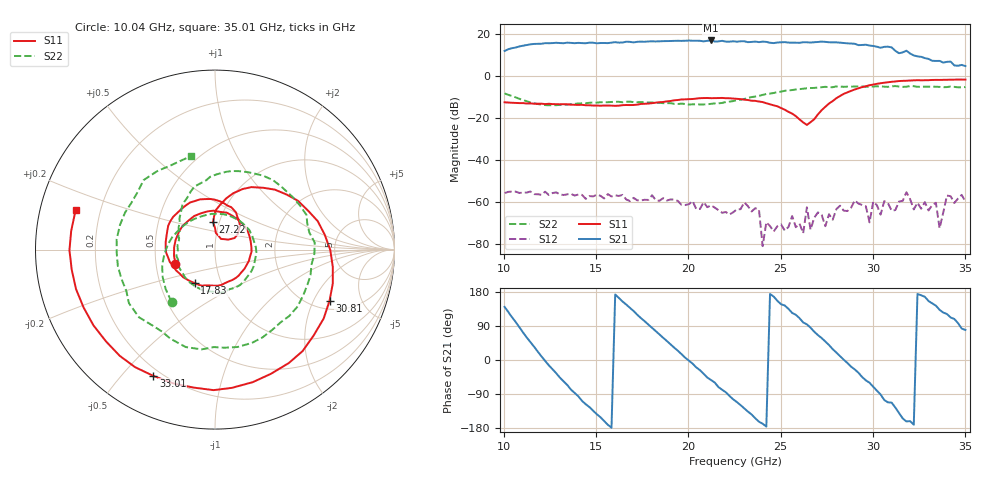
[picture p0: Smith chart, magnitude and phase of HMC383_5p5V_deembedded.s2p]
!Hittite Microwave Corporation
!20 Alpha Road
!Chelmsford, MA 01824
!Tel: 978-250-3343
!Fax: 978-250-3373
!Device: HMC383, 12-30 GHz, Driver Amplifier Die
!Misc: Vcc = 5.5V, data includes two K connectors, Room
# MHZ S MA R 50
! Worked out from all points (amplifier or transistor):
!   126 points, 10.04 GHz to 35.01 GHz, reference 50 ohm
!   highest |S21| = 16.7 dB at 21.22 GHz (marker M1)
!   |S21| within 3 dB of that: 10.77 GHz to 30.23 GHz (19.46 GHz wide, 94.9 % of centre)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
!   unconditionally stable (mu >= 1): start of sweep to end of sweep
!   at 14.23 GHz: K = 51.51, MAG = 15.9 dB, |S12| = -56.5 dB
!   at 22.62 GHz: K = 98.47, MAG = 16.8 dB, |S12| = -63.4 dB
!   at 35.01 GHz: K = 71.20, MAG = 10.6 dB, |S12| = -59.7 dB
!   S11 on the Smith chart (normalised r, x): 10.04 GHz: 0.63, -0.11; 17.83 GHz: 0.75, -0.29; 27.22 GHz: 0.94, +0.29; 30.81 GHz: 2.41, -2.69; 33.01 GHz: 0.17, -0.61; 35.01 GHz: 0.11, +0.14
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10037.5  0.234 -160.2  3.865 140.2  0.00165 -18.5  0.379 -129.7
11036.25  0.224 144.4  5.151 72.7  0.001691 -26.9  0.264 173.7
12234.75  0.212 81.7  5.917 -2.4  0.001775 -47.0  0.201 114.7
13433.25  0.209 28.6  6.084 -65.9  0.00154 -67.1  0.207 58.0
14232.25  0.204 -3.3  5.932 -107.9  0.001493 -75.7  0.221 20.9
16030  0.193 -66.6  6.233 172.9  0.001456 -97.2  0.242 -54.8
17827.75  0.218 -121.0  6.5 93.4  0.001131 -120.4  0.232 -118.6
18427  0.235 -139.1  6.544 67.5  0.001077 -118.1  0.228 -137.1
19825.25  0.275 178.1  6.745 6.0  0.0008596 -144.8  0.213 -175.5
21223.5  0.293 135.4  6.852 -52.9  0.0008431 -146.0  0.215 161.9
22621.75  0.283 95.1  6.408 -111.0  0.0006792 -142.3  0.262 139.0
24219.75  0.222 56.1  6.339 -175.7  0.0003338 -172.0  0.369 108.1
25618  0.126 30.6  6.076 124.2  0.0004711 -36.9  0.457 73.1
26816.5  0.093 87.2  6.224 74.5  0.000429 -97.2  0.513 39.6
27216  0.152 94.0  6.439 58.0  0.000505 -41.9  0.533 27.6
28814  0.437 52.0  5.793 -17.6  0.0007411 -93.6  0.551 -20.8
29613  0.563 22.5  5.433 -53.7  0.0008002 -105.7  0.546 -47.5
30811.5  0.699 -24.1  4.879 -111.8  0.0009469 -113.9  0.543 -90.6
31011.25  0.717 -32.4  4.691 -112.4  0.0006254 -119.4  0.561 -97.7
31810.25  0.759 -65.8  3.922 -162.2  0.001718 -157.4  0.547 -128.8
33008.75  0.783 -116.0  2.499 155.6  0.0006362 85.6  0.548 -178.1
35006.25  0.807 164.3  1.693 79.3  0.001032 58.4  0.538 104.3
